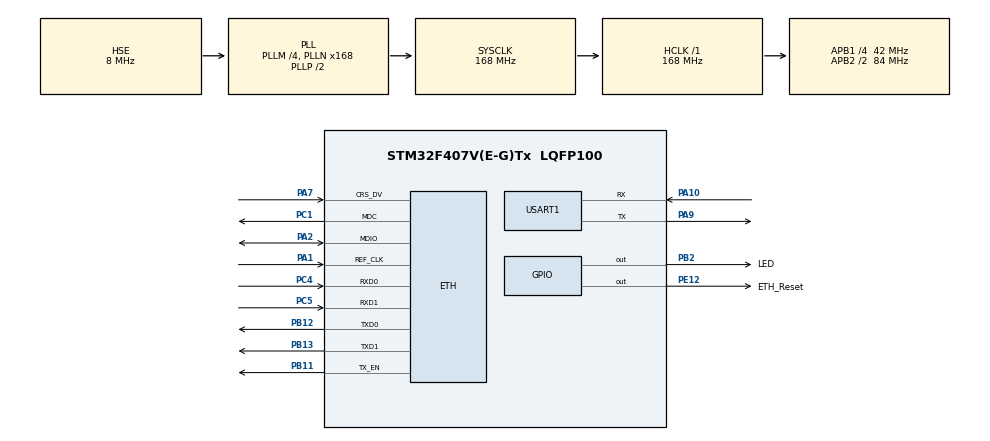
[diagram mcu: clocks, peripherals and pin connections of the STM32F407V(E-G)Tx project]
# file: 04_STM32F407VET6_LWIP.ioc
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ETH.MediaInterface=HAL_ETH_RMII_MODE
LWIP.BSP.number=1
LWIP.GATEWAY_ADDRESS=192.168.001.001
LWIP.IP_ADDRESS=192.168.001.005
LWIP.LWIP_DHCP=0
LWIP.NETMASK_ADDRESS=255.255.255.000
LWIP.Version=v2.1.2_Cube
LWIP0.BSP.STBoard=false
LWIP0.BSP.api=BSP_COMPONENT_DRIVER
LWIP0.BSP.component=LAN8742
LWIP0.BSP.instance=LAN8742
LWIP0.BSP.name=Driver_PHY
LWIP0.BSP.semaphore=S_LAN8742
LWIP0.BSP.solution=LAN8742
Mcu.Family=STM32F4
Mcu.Name=STM32F407V(E-G)Tx
Mcu.Package=LQFP100
NVIC.PriorityGroup=NVIC_PRIORITYGROUP_4
PA1.Mode=RMII
PA1.Signal=ETH_REF_CLK
PA10.Mode=Asynchronous
PA10.Signal=USART1_RX
PA2.Mode=RMII
PA2.Signal=ETH_MDIO
PA7.Mode=RMII
PA7.Signal=ETH_CRS_DV
PA9.Mode=Asynchronous
PA9.Signal=USART1_TX
PB11.Mode=RMII
PB11.Signal=ETH_TX_EN
PB12.Mode=RMII
PB12.Signal=ETH_TXD0
PB13.Mode=RMII
PB13.Signal=ETH_TXD1
PB2.GPIO_Label=LED
PB2.Signal=GPIO_Output
PC1.Mode=RMII
PC1.Signal=ETH_MDC
PC4.Mode=RMII
PC4.Signal=ETH_RXD0
PC5.Mode=RMII
PC5.Signal=ETH_RXD1
PE12.GPIO_Label=ETH_Reset
PE12.GPIO_PuPd=GPIO_PULLUP
PE12.GPIO_Speed=GPIO_SPEED_FREQ_VERY_HIGH
PE12.PinState=GPIO_PIN_SET
PE12.Signal=GPIO_Output
PH0-OSC_IN.Mode=HSE-External-Oscillator
PH0-OSC_IN.Signal=RCC_OSC_IN
PH1-OSC_OUT.Mode=HSE-External-Oscillator
PH1-OSC_OUT.Signal=RCC_OSC_OUT
ProjectManager.HeapSize=0x200
ProjectManager.StackSize=0x2000
ProjectManager.TargetToolchain=MDK-ARM V5.32
RCC.48MHZClocksFreq_Value=84000000
RCC.AHBFreq_Value=168000000
RCC.APB1CLKDivider=RCC_HCLK_DIV4
RCC.APB1Freq_Value=42000000
RCC.APB1TimFreq_Value=84000000
RCC.APB2CLKDivider=RCC_HCLK_DIV2
RCC.APB2Freq_Value=84000000
RCC.APB2TimFreq_Value=168000000
RCC.CortexFreq_Value=168000000
RCC.HCLKFreq_Value=168000000
RCC.HSE_VALUE=8000000
RCC.HSI_VALUE=16000000
RCC.LSE_VALUE=32768
RCC.PLLM=4
RCC.PLLN=168
RCC.PLLSourceVirtual=RCC_PLLSOURCE_HSE
RCC.SYSCLKFreq_VALUE=168000000
RCC.SYSCLKSource=RCC_SYSCLKSOURCE_PLLCLK
RCC.VCOOutputFreq_Value=336000000
USART1.VirtualMode=VM_ASYNC
VP_LWIP_VS_Enabled.Mode=Enabled
board=custom

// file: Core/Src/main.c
/* USER CODE BEGIN Header */
/**
  ******************************************************************************
  * @file           : main.c
  * @brief          : Main program body
  ******************************************************************************
  * @attention
  *
  * Copyright (c) 2026 STMicroelectronics.
  * All rights reserved.
  *
  * This software is licensed under terms that can be found in the LICENSE file
  * in the root directory of this software component.
  * If no LICENSE file comes with this software, it is provided AS-IS.
  *
  ******************************************************************************
  */
/* USER CODE END Header */
#include "main.h"
#include "lwip.h"
#include "usart.h"
#include "gpio.h"

/* USER CODE BEGIN Includes */
#include "TcpClient.h"
#include "TcpServer.h"
#include <stdio.h>
/* USER CODE END Includes */

/* USER CODE BEGIN PV */
static uint32_t g_led_timer = 0;
static uint32_t g_hex_send_timer = 0;
static int g_hex_count = 0;
/* USER CODE END PV */

void SystemClock_Config(void);

/* USER CODE BEGIN 0 */

/* TCP Client 接收回调：在这里解析收到的命令/数据 */
static void on_client_rx(const uint8_t *data, uint16_t len)
{
    (void)data;
    printf("Main: client RX cb len=%u\r\n", len);
}

/* TCP Server 接收回调：slot 指明是哪个客户端发的 */
static void on_server_rx(int slot, const uint8_t *data, uint16_t len)
{
    (void)data;
    printf("Main: server RX cb slot=%d len=%u\r\n", slot, len);
}

/* USER CODE END 0 */

int main(void)
{

  /* MCU Configuration--------------------------------------------------------*/

  /* Reset of all peripherals, Initializes the Flash interface and the Systick. */
  HAL_Init();

  /* Configure the system clock */
  SystemClock_Config();

  /* Initialize all configured peripherals */
  MX_GPIO_Init();
  MX_USART1_UART_Init();
  MX_LWIP_Init();
  /* USER CODE BEGIN 2 */
  extern struct netif gnetif;
  printf("\r\n========================================\r\n");
  printf("  STM32F407 LWIP TCP Test\r\n");
  printf("  IP: %s\r\n", ip4addr_ntoa(netif_ip4_addr(&gnetif)));
  printf("========================================\r\n\r\n");

  tcp_server_init();
  tcp_server_set_rx_callback(on_server_rx);

  printf("\r\nWaiting 2s for network to stabilize...\r\n");
  HAL_Delay(2000);

  tcp_client_init();
  tcp_client_set_rx_callback(on_client_rx);
  /* USER CODE END 2 */

  /* Infinite loop */
  while (1)
  {

    /* USER CODE BEGIN 3 */
    MX_LWIP_Process();

    uint32_t now = HAL_GetTick();

    if (now - g_led_timer >= 500) {
      g_led_timer = now;
      HAL_GPIO_TogglePin(LED_GPIO_Port, LED_Pin);
    }

    if (now - g_hex_send_timer >= 2000) {
      g_hex_send_timer = now;
      if (tcp_client_is_connected()) {
        /* 演示：每 2 秒发 10 字节递增的 HEX 数组，便于观察每次内容在变化 */
        uint8_t hex_data[10];
        for (int i = 0; i < 10; i++) {
          hex_data[i] = (uint8_t)(g_hex_count + i);
        }
        g_hex_count++;
        tcp_client_send_bytes(hex_data, sizeof(hex_data));
      } else {
        printf("Main: TCP Client not connected, retrying...\r\n");
        tcp_client_init();
      }
    }
  }
  /* USER CODE END 3 */
}

void SystemClock_Config(void)
{
  RCC_OscInitTypeDef RCC_OscInitStruct = {0};
  RCC_ClkInitTypeDef RCC_ClkInitStruct = {0};

  /** Configure the main internal regulator output voltage
  */
  __HAL_RCC_PWR_CLK_ENABLE();
  __HAL_PWR_VOLTAGESCALING_CONFIG(PWR_REGULATOR_VOLTAGE_SCALE1);

  /** Initializes the RCC Oscillators according to the specified parameters
  * in the RCC_OscInitTypeDef structure.
  */
  RCC_OscInitStruct.OscillatorType = RCC_OSCILLATORTYPE_HSE;
  RCC_OscInitStruct.HSEState = RCC_HSE_ON;
  RCC_OscInitStruct.PLL.PLLState = RCC_PLL_ON;
  RCC_OscInitStruct.PLL.PLLSource = RCC_PLLSOURCE_HSE;
  RCC_OscInitStruct.PLL.PLLM = 4;
  RCC_OscInitStruct.PLL.PLLN = 168;
  RCC_OscInitStruct.PLL.PLLP = RCC_PLLP_DIV2;
  RCC_OscInitStruct.PLL.PLLQ = 4;
  if (HAL_RCC_OscConfig(&RCC_OscInitStruct) != HAL_OK)
  {
    Error_Handler();
  }

  /** Initializes the CPU, AHB and APB buses clocks
  */
  RCC_ClkInitStruct.ClockType = RCC_CLOCKTYPE_HCLK|RCC_CLOCKTYPE_SYSCLK
                              |RCC_CLOCKTYPE_PCLK1|RCC_CLOCKTYPE_PCLK2;
  RCC_ClkInitStruct.SYSCLKSource = RCC_SYSCLKSOURCE_PLLCLK;
  RCC_ClkInitStruct.AHBCLKDivider = RCC_SYSCLK_DIV1;
  RCC_ClkInitStruct.APB1CLKDivider = RCC_HCLK_DIV4;
  RCC_ClkInitStruct.APB2CLKDivider = RCC_HCLK_DIV2;

  if (HAL_RCC_ClockConfig(&RCC_ClkInitStruct, FLASH_LATENCY_5) != HAL_OK)
  {
    Error_Handler();
  }
}

void Error_Handler(void)
{
  __disable_irq();
  while (1)
  {
  }
}
